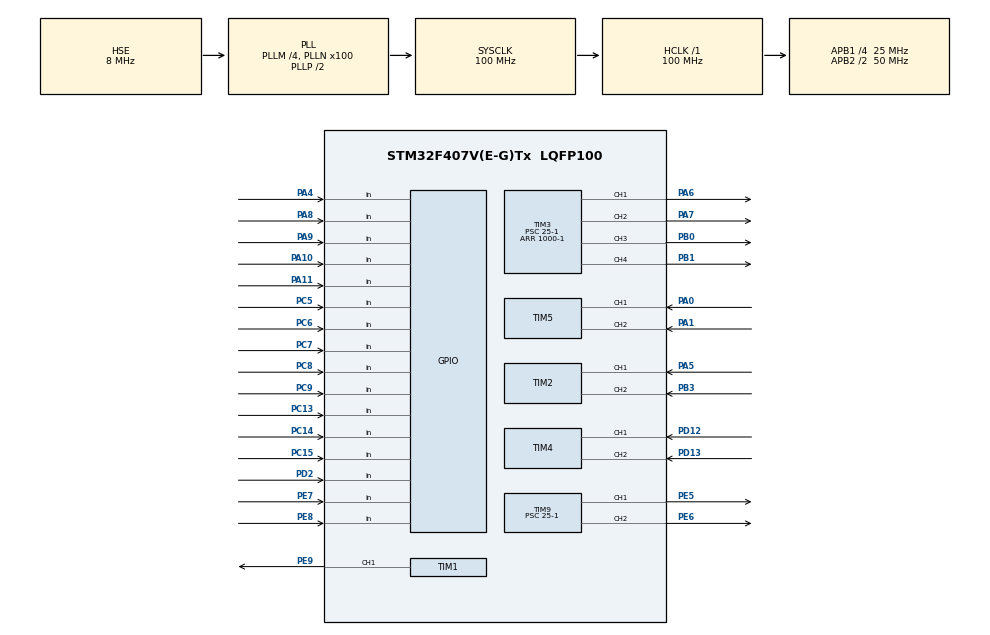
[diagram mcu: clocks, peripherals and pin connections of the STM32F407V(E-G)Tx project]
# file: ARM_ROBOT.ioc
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Mcu.Family=STM32F4
Mcu.Name=STM32F407V(E-G)Tx
Mcu.Package=LQFP100
NVIC.PriorityGroup=NVIC_PRIORITYGROUP_4
NVIC.TIM4_IRQn=true\:1\:0\:true\:false\:true\:true\:true
PA0-WKUP.GPIO_PuPd=GPIO_PULLUP
PA0-WKUP.Signal=S_TIM5_CH1
PA1.GPIO_PuPd=GPIO_PULLUP
PA1.Signal=S_TIM5_CH2
PA10.GPIO_PuPd=GPIO_PULLUP
PA10.Signal=GPIO_Input
PA11.GPIO_PuPd=GPIO_PULLUP
PA11.Signal=GPIO_Input
PA13.Mode=Serial_Wire
PA13.Signal=SYS_JTMS-SWDIO
PA14.Mode=Serial_Wire
PA14.Signal=SYS_JTCK-SWCLK
PA4.GPIO_PuPd=GPIO_PULLUP
PA4.Signal=GPIO_Input
PA5.GPIO_PuPd=GPIO_PULLUP
PA5.Signal=S_TIM2_CH1_ETR
PA6.Signal=S_TIM3_CH1
PA7.Signal=S_TIM3_CH2
PA8.GPIO_PuPd=GPIO_PULLUP
PA8.Signal=GPIO_Input
PA9.GPIO_PuPd=GPIO_PULLUP
PA9.Signal=GPIO_Input
PB0.Signal=S_TIM3_CH3
PB1.Signal=S_TIM3_CH4
PB3.GPIO_PuPd=GPIO_PULLUP
PB3.Signal=S_TIM2_CH2
PC13-ANTI_TAMP.GPIO_PuPd=GPIO_PULLUP
PC13-ANTI_TAMP.Signal=GPIO_Input
PC14-OSC32_IN.GPIO_PuPd=GPIO_PULLUP
PC14-OSC32_IN.Signal=GPIO_Input
PC15-OSC32_OUT.GPIO_PuPd=GPIO_PULLUP
PC15-OSC32_OUT.Signal=GPIO_Input
PC5.GPIO_PuPd=GPIO_PULLUP
PC5.Signal=GPIO_Input
PC6.GPIO_PuPd=GPIO_PULLUP
PC6.Signal=GPIO_Input
PC7.GPIO_PuPd=GPIO_PULLUP
PC7.Signal=GPIO_Input
PC8.GPIO_PuPd=GPIO_PULLUP
PC8.Signal=GPIO_Input
PC9.GPIO_PuPd=GPIO_PULLUP
PC9.Signal=GPIO_Input
PD12.GPIO_PuPd=GPIO_PULLUP
PD12.Signal=S_TIM4_CH1
PD13.GPIO_PuPd=GPIO_PULLUP
PD13.Signal=S_TIM4_CH2
PD2.GPIO_PuPd=GPIO_PULLUP
PD2.Signal=GPIO_Input
PE5.GPIO_PuPd=GPIO_PULLUP
PE5.Signal=S_TIM9_CH1
PE6.GPIO_PuPd=GPIO_PULLUP
PE6.Signal=S_TIM9_CH2
PE7.GPIO_PuPd=GPIO_PULLUP
PE7.Signal=GPIO_Input
PE8.GPIO_PuPd=GPIO_PULLUP
PE8.Signal=GPIO_Input
PE9.Signal=S_TIM1_CH1
PH0-OSC_IN.Mode=HSE-External-Oscillator
PH0-OSC_IN.Signal=RCC_OSC_IN
PH1-OSC_OUT.Mode=HSE-External-Oscillator
PH1-OSC_OUT.Signal=RCC_OSC_OUT
ProjectManager.HeapSize=0x200
ProjectManager.StackSize=0x400
ProjectManager.TargetToolchain=MDK-ARM V5.27
RCC.48MHZClocksFreq_Value=50000000
RCC.AHBFreq_Value=100000000
RCC.APB1CLKDivider=RCC_HCLK_DIV4
RCC.APB1Freq_Value=25000000
RCC.APB1TimFreq_Value=50000000
RCC.APB2CLKDivider=RCC_HCLK_DIV2
RCC.APB2Freq_Value=50000000
RCC.APB2TimFreq_Value=100000000
RCC.CortexFreq_Value=100000000
RCC.HCLKFreq_Value=100000000
RCC.HSE_VALUE=8000000
RCC.HSI_VALUE=16000000
RCC.LSE_VALUE=32768
RCC.PLLM=4
RCC.PLLN=100
RCC.PLLSourceVirtual=RCC_PLLSOURCE_HSE
RCC.SYSCLKFreq_VALUE=100000000
RCC.SYSCLKSource=RCC_SYSCLKSOURCE_PLLCLK
RCC.VCOOutputFreq_Value=200000000
SH.S_TIM1_CH1.0=TIM1_CH1,PWM Generation1 CH1
SH.S_TIM2_CH1_ETR.0=TIM2_CH1,Encoder_Interface
SH.S_TIM2_CH2.0=TIM2_CH2,Encoder_Interface
SH.S_TIM3_CH1.0=TIM3_CH1,PWM Generation1 CH1
SH.S_TIM3_CH2.0=TIM3_CH2,PWM Generation2 CH2
SH.S_TIM3_CH3.0=TIM3_CH3,PWM Generation3 CH3
SH.S_TIM3_CH4.0=TIM3_CH4,PWM Generation4 CH4
SH.S_TIM4_CH1.0=TIM4_CH1,Encoder_Interface
SH.S_TIM4_CH2.0=TIM4_CH2,Encoder_Interface
SH.S_TIM5_CH1.0=TIM5_CH1,Encoder_Interface
SH.S_TIM5_CH2.0=TIM5_CH2,Encoder_Interface
SH.S_TIM9_CH1.0=TIM9_CH1,PWM Generation1 CH1
SH.S_TIM9_CH2.0=TIM9_CH2,PWM Generation2 CH2
TIM1.Channel-PWM\ Generation1\ CH1=TIM_CHANNEL_1
TIM1.Period=1000-1
TIM1.Prescaler=2000-1
TIM2.EncoderMode=TIM_ENCODERMODE_TI12
TIM3.Channel-PWM\ Generation1\ CH1=TIM_CHANNEL_1
TIM3.Channel-PWM\ Generation2\ CH2=TIM_CHANNEL_2
TIM3.Channel-PWM\ Generation3\ CH3=TIM_CHANNEL_3
TIM3.Channel-PWM\ Generation4\ CH4=TIM_CHANNEL_4
TIM3.Period=1000-1
TIM3.Prescaler=25-1
TIM4.EncoderMode=TIM_ENCODERMODE_TI12
TIM5.EncoderMode=TIM_ENCODERMODE_TI12
TIM9.Channel-PWM\ Generation1\ CH1=TIM_CHANNEL_1
TIM9.Channel-PWM\ Generation2\ CH2=TIM_CHANNEL_2
TIM9.Period=1000-1
TIM9.Prescaler=25-1
VP_TIM1_VS_ClockSourceINT.Mode=Internal
VP_TIM3_VS_ClockSourceINT.Mode=Internal
VP_TIM9_VS_ClockSourceINT.Mode=Internal
board=custom

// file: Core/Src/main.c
/* USER CODE BEGIN Header */
/**
  ******************************************************************************
  * @file           : main.c
  * @brief          : Main program body
  ******************************************************************************
  * @attention
  *
  * <h2><center>&copy; Copyright (c) 2022 STMicroelectronics.
  * All rights reserved.</center></h2>
  *
  * This software component is licensed by ST under BSD 3-Clause license,
  * the "License"; You may not use this file except in compliance with the
  * License. You may obtain a copy of the License at:
  *                        opensource.org/licenses/BSD-3-Clause
  *
  ******************************************************************************
  */
/* USER CODE END Header */
#include "main.h"

/* USER CODE BEGIN Includes */
#include "math.h"
#include "PORT.h"
/* USER CODE END Includes */

TIM_HandleTypeDef htim1;
TIM_HandleTypeDef htim2;
TIM_HandleTypeDef htim3;
TIM_HandleTypeDef htim4;
TIM_HandleTypeDef htim5;
TIM_HandleTypeDef htim9;

/* USER CODE BEGIN PV */
//------doc_encoder-------------
volatile uint32_t encoder_cnt1 = 0;
volatile uint32_t encoder_cnt2 = 0;
volatile uint32_t encoder_cnt3 = 0;

uint32_t read_encoder_1() //QUAY
	{
		encoder_cnt1 = __HAL_TIM_GET_COUNTER(&htim2); //A-B3, B-A5
		return encoder_cnt1;
	}
uint32_t read_encoder_2() //TINH TIEN
	{
		encoder_cnt2 = __HAL_TIM_GET_COUNTER(&htim5); // A-A0, B-A1
		return encoder_cnt2;
	}
uint32_t read_encoder_3() //CUOI
	{
		encoder_cnt3 = __HAL_TIM_GET_COUNTER(&htim4); //D13D12
		return encoder_cnt3;
	}
//*******************************************

typedef enum {OFF,DC1_OFF, DC1_LEFT,DC1_RIGHT, DC2_UP, DC2_DOWN, DC2_OFF, DC3_LEFT, DC3_RIGHT,DC3_OFF} System_TYPE;
static System_TYPE current_TYPE = OFF;
void DC(System_TYPE current_TYPE)
	{
   	switch (current_TYPE)
		{ case OFF:
						{
							//DC1
							  __HAL_TIM_SET_COMPARE(&htim9, TIM_CHANNEL_1, 0);
                __HAL_TIM_SET_COMPARE(&htim9, TIM_CHANNEL_2, 0);
							//DC2
             		__HAL_TIM_SET_COMPARE(&htim3, TIM_CHANNEL_1, 0);
                __HAL_TIM_SET_COMPARE(&htim3, TIM_CHANNEL_2, 0);
							//DC3
							  __HAL_TIM_SET_COMPARE(&htim3, TIM_CHANNEL_3, 0);
                __HAL_TIM_SET_COMPARE(&htim3, TIM_CHANNEL_4, 0);
			break;
						}
      case DC1_LEFT:
						{
							  __HAL_TIM_SET_COMPARE(&htim9, TIM_CHANNEL_1, 500);
                __HAL_TIM_SET_COMPARE(&htim9, TIM_CHANNEL_2, 0);
			break;
						}
      case DC1_RIGHT:
						{
							 __HAL_TIM_SET_COMPARE(&htim9, TIM_CHANNEL_1, 0);
               __HAL_TIM_SET_COMPARE(&htim9, TIM_CHANNEL_2, 500);
			break;
						}
			case DC1_OFF:
						{
							__HAL_TIM_SET_COMPARE(&htim9, TIM_CHANNEL_1, 0);
              __HAL_TIM_SET_COMPARE(&htim9, TIM_CHANNEL_2, 0);
			break;
						}
			case DC2_UP:
						{
							  __HAL_TIM_SET_COMPARE(&htim3, TIM_CHANNEL_1, 1000);
                __HAL_TIM_SET_COMPARE(&htim3, TIM_CHANNEL_2, 0);
			break;
						}
      case DC2_DOWN:
						{
							 __HAL_TIM_SET_COMPARE(&htim3, TIM_CHANNEL_1, 0);
               __HAL_TIM_SET_COMPARE(&htim3, TIM_CHANNEL_2, 1500);
			break;
						}
			case DC2_OFF:
						{
							__HAL_TIM_SET_COMPARE(&htim3, TIM_CHANNEL_1, 0);
              __HAL_TIM_SET_COMPARE(&htim3, TIM_CHANNEL_2, 0);
			break;
						}
			case DC3_LEFT:
						{
							  __HAL_TIM_SET_COMPARE(&htim3, TIM_CHANNEL_3, 900);
                __HAL_TIM_SET_COMPARE(&htim3, TIM_CHANNEL_4, 0);
			break;
						}
      case DC3_RIGHT:
						{
							 __HAL_TIM_SET_COMPARE(&htim3, TIM_CHANNEL_3, 0);
               __HAL_TIM_SET_COMPARE(&htim3, TIM_CHANNEL_4, 900);
			break;
						}
			case DC3_OFF:
						{
							__HAL_TIM_SET_COMPARE(&htim3, TIM_CHANNEL_3, 0);
              __HAL_TIM_SET_COMPARE(&htim3, TIM_CHANNEL_4, 0);
			break;
            }
		}
	}
//================================================================================
//-----CURRENT_STATE_ROBOT---------------
typedef enum {STATE1, STATE2, STATE3, STATE4} System_State;
static System_State current_state = STATE1; //AUTO HOME
void AUTO_HOME()
{
	switch (current_state)
		{ case STATE1:
						{
              DC(DC1_RIGHT);
							DC(DC2_OFF);
							DC(DC3_OFF);
					if((GPIOA->IDR & CAMBIEN_1)==0)
							{
                   __HAL_TIM_SET_COUNTER(&htim2, 0);
			             current_state = STATE2;
							}
			break;
						}
      case STATE2:
						{
							DC(DC1_OFF);
						  DC(DC2_DOWN);
              DC(DC3_OFF);
		          if((GPIOA->IDR & CAMBIEN_3)==0)
								{
										 __HAL_TIM_SET_COUNTER(&htim5, 0);
										 current_state = STATE3;
								}
			break;
						}
      case STATE3:
						{
							DC(DC1_OFF);
							DC(DC2_OFF);
						  DC(DC3_LEFT);
		          if(encoder_cnt3 == 10000)
								{
										//__HAL_TIM_SET_COUNTER(&htim4, 0);
										 current_state = STATE4;
								}
			break;
						}
			case STATE4:
				{
					DC(DC1_OFF);
					DC(DC2_OFF);
					DC(DC3_OFF);
					      if((GPIOC->IDR & NUTNHAN_3)==0)
								{
						       current_state = STATE1;		;
								}
      break;
				}
		}
}
//============================================================================
typedef enum {STATE1_1, STATE1_2, STATE1_3, STATE1_4,STATE1_5, STATE1_6, STATE1_7} System_TRANGTHAI_1;
static System_TRANGTHAI_1 TRANGTHAI_1 = STATE1_1; //AUTO HOME
void TRANG_THAI_1()
{
	switch (TRANGTHAI_1)
		{ case STATE1_1:
						{
              DC(DC1_RIGHT);
							DC(DC2_OFF);
							DC(DC3_OFF);
					if((GPIOA->IDR & CAMBIEN_2)==0)
							{
			             TRANGTHAI_1 = STATE1_2;
							}
			break;
						}
      case STATE1_2:
						{
							DC(DC1_OFF);
						  DC(DC2_UP);
							DC(DC3_OFF);
		          if((GPIOE->IDR & CAMBIEN_4)==0)
								{
										 TRANGTHAI_1 = STATE1_3;
								}
			break;
						}
      case STATE1_3:
						{
							DC(DC1_OFF);
							DC(DC2_OFF);
						  DC(DC3_RIGHT);
              if(encoder_cnt3 == 5000)
								{
										TRANGTHAI_1 = STATE1_4;
								}
			break;
						}
			case STATE1_4:
				{
					DC(DC1_OFF);
					DC(DC2_OFF);
					DC(DC3_OFF);
				  TRANGTHAI_1 = STATE1_5;

      break;
				}
			case STATE1_5:
				{
					DC(DC1_OFF);
					DC(DC2_OFF);
					DC(DC3_LEFT);
					 if(encoder_cnt3 == 60000)//doc lan 1 CAM BIEN 5
							{

									 TRANGTHAI_1 = STATE1_6;
							}

      break;
				}
			case STATE1_6:
				{
					DC(DC1_OFF);
					DC(DC2_DOWN);
					DC(DC3_OFF);
					if((GPIOA->IDR & CAMBIEN_3)==0)//doc lan 1 CAM BIEN 3
						{
								 TRANGTHAI_1 = STATE1_7;
						}
			break;
				}
		 case STATE1_7:
						{
              DC(DC1_LEFT);
							DC(DC2_OFF);
							DC(DC3_OFF);
					if((GPIOE->IDR & CAMBIEN_1)==0)//doc lan 1 CAM BIEN 1
							{
			             TRANGTHAI_1 = STATE1_1;
							}

			break;
						}
		}
}
//===========================================================================================

//===============================================================================
typedef enum {STATE2_1, STATE2_2, STATE2_3, STATE2_4, STATE2_5, STATE2_6, STATE2_7, STATE2_8} System_TRANGTHAI_2;
static System_TRANGTHAI_2 TRANGTHAI_2 = STATE2_1; //AUTO HOME
void TRANG_THAI_2() // CHUA CAI DAT TOC DO CHO DC
{
	switch (TRANGTHAI_2)
		{ case STATE2_1:
						{
              DC(DC1_LEFT);
							DC(DC2_OFF);
						  DC(DC3_OFF);
							if( encoder_cnt1 == 100000)
								{
									TRANGTHAI_2 = STATE2_2;
								}
			break;
						}
      case STATE2_2:
						{
							DC(DC1_OFF);
							DC(DC2_UP);
							DC(DC3_OFF);
							        if((GPIOE->IDR & CAMBIEN_4)==0)//doc lan 1 CAM BIEN 4
								{
												TRANGTHAI_2 = STATE2_3;
								}
			break;
						}
      case STATE2_3:
						{
							DC(DC1_OFF);
							DC(DC2_OFF);
						  DC(DC3_LEFT);
							if( encoder_cnt3 == 60000)
								{
									TRANGTHAI_2 = STATE2_4;
								}
// vi tri A
			break;
						}
			case STATE2_4:
				{
							DC(DC1_LEFT);
							DC(DC2_OFF);
						  DC(DC3_OFF);
							if( encoder_cnt1 == 150000)
								{
									TRANGTHAI_2 = STATE2_5;
								}
      break;
				}
			case STATE2_5:
				{
							DC(DC1_OFF);
							DC(DC2_DOWN);
						  DC(DC3_OFF);
							if( encoder_cnt2 == 10000)
								{
									TRANGTHAI_2 = STATE2_6;
								}
      break;
				}
			case STATE2_6:
				{
							DC(DC1_OFF);
							DC(DC2_DOWN);
						  DC(DC3_OFF);
							if( encoder_cnt2 == 0)
								{
									TRANGTHAI_2 = STATE2_7;
								}
      break;
				}
			case STATE2_7:
				{
							DC(DC1_OFF);
							DC(DC2_OFF);
						  DC(DC3_RIGHT);
							if( encoder_cnt3 == 0)
								{
									TRANGTHAI_2 = STATE2_8;
								}
      break;
				}
			case STATE2_8:
						{
              DC(DC1_RIGHT);
							DC(DC2_OFF);
						  DC(DC3_OFF);
							if( encoder_cnt1 == 100000)
								{
									TRANGTHAI_2 = STATE2_1;
								}
			break;
						}

		}
}
//========================================================================================
typedef enum {TH1, TH2, TH3} System_TH;
static System_TH current_TH = TH1;
void TONG_HOP()
{
	switch (current_TH)
		{ case TH1:
						{
							AUTO_HOME();
						  if((GPIOC->IDR & NUTNHAN_1)==0)
								{
										 current_TH = TH2;

								}
							if((GPIOC->IDR & NUTNHAN_2)==0)
								{
										 current_TH = TH3;
								}
			break;
						}
      case TH2:
						{
              TRANG_THAI_1();
							if((GPIOC->IDR & NUTNHAN_3)==0)
							  {
										 current_TH = TH1;
								}
			break;
						}
      case TH3:
						{
             TRANG_THAI_2();
						 	if((GPIOC->IDR & NUTNHAN_3)==0)
							  {
										 current_TH = TH1;
								}
			break;
					 }
		}
}

/* USER CODE END PV */

void SystemClock_Config(void);
static void MX_GPIO_Init(void);
static void MX_TIM1_Init(void);
static void MX_TIM2_Init(void);
static void MX_TIM3_Init(void);
static void MX_TIM4_Init(void);
static void MX_TIM5_Init(void);
static void MX_TIM9_Init(void);

/* USER CODE BEGIN 0 */
  // HAL_TIM_Base_Start_IT(&htim2); // hаm cho phep bat dau ngat
	// HAL_TIM_Base_Start_IT(&htim3);

/* USER CODE END 0 */

int main(void)
{

  /* MCU Configuration--------------------------------------------------------*/

  /* Reset of all peripherals, Initializes the Flash interface and the Systick. */
  HAL_Init();

  /* Configure the system clock */
  SystemClock_Config();

  /* Initialize all configured peripherals */
  MX_GPIO_Init();
  MX_TIM1_Init();
  MX_TIM2_Init();
  MX_TIM3_Init();
  MX_TIM4_Init();
  MX_TIM5_Init();
  MX_TIM9_Init();
  /* USER CODE BEGIN 2 */
		HAL_TIM_PWM_Start(&htim1,TIM_CHANNEL_1);
		HAL_TIM_PWM_Start(&htim9,TIM_CHANNEL_1);
		HAL_TIM_PWM_Start(&htim9,TIM_CHANNEL_2);
		HAL_TIM_PWM_Start(&htim3,TIM_CHANNEL_1);
		HAL_TIM_PWM_Start(&htim3,TIM_CHANNEL_2);
		HAL_TIM_PWM_Start(&htim3,TIM_CHANNEL_3);
		HAL_TIM_PWM_Start(&htim3,TIM_CHANNEL_4);
		HAL_TIM_Encoder_Start_IT(&htim2, TIM_CHANNEL_1 | TIM_CHANNEL_2);
		HAL_TIM_Encoder_Start_IT(&htim5, TIM_CHANNEL_1 | TIM_CHANNEL_2);
		HAL_TIM_Encoder_Start_IT(&htim4, TIM_CHANNEL_1 | TIM_CHANNEL_2);
  /* USER CODE END 2 */

  /* Infinite loop */
  while (1)
  {

    /* USER CODE BEGIN 3 */
		read_encoder_1();
		read_encoder_2();
		read_encoder_3();
	  TONG_HOP();
  }
  /* USER CODE END 3 */
}

void SystemClock_Config(void)
{
  RCC_OscInitTypeDef RCC_OscInitStruct = {0};
  RCC_ClkInitTypeDef RCC_ClkInitStruct = {0};

  /** Configure the main internal regulator output voltage
  */
  __HAL_RCC_PWR_CLK_ENABLE();
  __HAL_PWR_VOLTAGESCALING_CONFIG(PWR_REGULATOR_VOLTAGE_SCALE1);
  /** Initializes the RCC Oscillators according to the specified parameters
  * in the RCC_OscInitTypeDef structure.
  */
  RCC_OscInitStruct.OscillatorType = RCC_OSCILLATORTYPE_HSE;
  RCC_OscInitStruct.HSEState = RCC_HSE_ON;
  RCC_OscInitStruct.PLL.PLLState = RCC_PLL_ON;
  RCC_OscInitStruct.PLL.PLLSource = RCC_PLLSOURCE_HSE;
  RCC_OscInitStruct.PLL.PLLM = 4;
  RCC_OscInitStruct.PLL.PLLN = 100;
  RCC_OscInitStruct.PLL.PLLP = RCC_PLLP_DIV2;
  RCC_OscInitStruct.PLL.PLLQ = 4;
  if (HAL_RCC_OscConfig(&RCC_OscInitStruct) != HAL_OK)
  {
    Error_Handler();
  }
  /** Initializes the CPU, AHB and APB buses clocks
  */
  RCC_ClkInitStruct.ClockType = RCC_CLOCKTYPE_HCLK|RCC_CLOCKTYPE_SYSCLK
                              |RCC_CLOCKTYPE_PCLK1|RCC_CLOCKTYPE_PCLK2;
  RCC_ClkInitStruct.SYSCLKSource = RCC_SYSCLKSOURCE_PLLCLK;
  RCC_ClkInitStruct.AHBCLKDivider = RCC_SYSCLK_DIV1;
  RCC_ClkInitStruct.APB1CLKDivider = RCC_HCLK_DIV4;
  RCC_ClkInitStruct.APB2CLKDivider = RCC_HCLK_DIV2;

  if (HAL_RCC_ClockConfig(&RCC_ClkInitStruct, FLASH_LATENCY_3) != HAL_OK)
  {
    Error_Handler();
  }
}

static void MX_TIM1_Init(void)
{

  TIM_ClockConfigTypeDef sClockSourceConfig = {0};
  TIM_MasterConfigTypeDef sMasterConfig = {0};
  TIM_OC_InitTypeDef sConfigOC = {0};
  TIM_BreakDeadTimeConfigTypeDef sBreakDeadTimeConfig = {0};

  htim1.Instance = TIM1;
  htim1.Init.Prescaler = 2000-1;
  htim1.Init.CounterMode = TIM_COUNTERMODE_UP;
  htim1.Init.Period = 1000-1;
  htim1.Init.ClockDivision = TIM_CLOCKDIVISION_DIV1;
  htim1.Init.RepetitionCounter = 0;
  htim1.Init.AutoReloadPreload = TIM_AUTORELOAD_PRELOAD_DISABLE;
  if (HAL_TIM_Base_Init(&htim1) != HAL_OK)
  {
    Error_Handler();
  }
  sClockSourceConfig.ClockSource = TIM_CLOCKSOURCE_INTERNAL;
  if (HAL_TIM_ConfigClockSource(&htim1, &sClockSourceConfig) != HAL_OK)
  {
    Error_Handler();
  }
  if (HAL_TIM_PWM_Init(&htim1) != HAL_OK)
  {
    Error_Handler();
  }
  sMasterConfig.MasterOutputTrigger = TIM_TRGO_RESET;
  sMasterConfig.MasterSlaveMode = TIM_MASTERSLAVEMODE_DISABLE;
  if (HAL_TIMEx_MasterConfigSynchronization(&htim1, &sMasterConfig) != HAL_OK)
  {
    Error_Handler();
  }
  sConfigOC.OCMode = TIM_OCMODE_PWM1;
  sConfigOC.Pulse = 0;
  sConfigOC.OCPolarity = TIM_OCPOLARITY_HIGH;
  sConfigOC.OCNPolarity = TIM_OCNPOLARITY_HIGH;
  sConfigOC.OCFastMode = TIM_OCFAST_DISABLE;
  sConfigOC.OCIdleState = TIM_OCIDLESTATE_RESET;
  sConfigOC.OCNIdleState = TIM_OCNIDLESTATE_RESET;
  if (HAL_TIM_PWM_ConfigChannel(&htim1, &sConfigOC, TIM_CHANNEL_1) != HAL_OK)
  {
    Error_Handler();
  }
  sBreakDeadTimeConfig.OffStateRunMode = TIM_OSSR_DISABLE;
  sBreakDeadTimeConfig.OffStateIDLEMode = TIM_OSSI_DISABLE;
  sBreakDeadTimeConfig.LockLevel = TIM_LOCKLEVEL_OFF;
  sBreakDeadTimeConfig.DeadTime = 0;
  sBreakDeadTimeConfig.BreakState = TIM_BREAK_DISABLE;
  sBreakDeadTimeConfig.BreakPolarity = TIM_BREAKPOLARITY_HIGH;
  sBreakDeadTimeConfig.AutomaticOutput = TIM_AUTOMATICOUTPUT_DISABLE;
  if (HAL_TIMEx_ConfigBreakDeadTime(&htim1, &sBreakDeadTimeConfig) != HAL_OK)
  {
    Error_Handler();
  }
  HAL_TIM_MspPostInit(&htim1);

}

static void MX_TIM2_Init(void)
{

  TIM_Encoder_InitTypeDef sConfig = {0};
  TIM_MasterConfigTypeDef sMasterConfig = {0};

  htim2.Instance = TIM2;
  htim2.Init.Prescaler = 0;
  htim2.Init.CounterMode = TIM_COUNTERMODE_UP;
  htim2.Init.Period = 4294967295;
  htim2.Init.ClockDivision = TIM_CLOCKDIVISION_DIV1;
  htim2.Init.AutoReloadPreload = TIM_AUTORELOAD_PRELOAD_DISABLE;
  sConfig.EncoderMode = TIM_ENCODERMODE_TI12;
  sConfig.IC1Polarity = TIM_ICPOLARITY_RISING;
  sConfig.IC1Selection = TIM_ICSELECTION_DIRECTTI;
  sConfig.IC1Prescaler = TIM_ICPSC_DIV1;
  sConfig.IC1Filter = 0;
  sConfig.IC2Polarity = TIM_ICPOLARITY_RISING;
  sConfig.IC2Selection = TIM_ICSELECTION_DIRECTTI;
  sConfig.IC2Prescaler = TIM_ICPSC_DIV1;
  sConfig.IC2Filter = 0;
  if (HAL_TIM_Encoder_Init(&htim2, &sConfig) != HAL_OK)
  {
    Error_Handler();
  }
  sMasterConfig.MasterOutputTrigger = TIM_TRGO_RESET;
  sMasterConfig.MasterSlaveMode = TIM_MASTERSLAVEMODE_DISABLE;
  if (HAL_TIMEx_MasterConfigSynchronization(&htim2, &sMasterConfig) != HAL_OK)
  {
    Error_Handler();
  }

}

static void MX_TIM3_Init(void)
{

  TIM_ClockConfigTypeDef sClockSourceConfig = {0};
  TIM_MasterConfigTypeDef sMasterConfig = {0};
  TIM_OC_InitTypeDef sConfigOC = {0};

  htim3.Instance = TIM3;
  htim3.Init.Prescaler = 25-1;
  htim3.Init.CounterMode = TIM_COUNTERMODE_UP;
  htim3.Init.Period = 1000-1;
  htim3.Init.ClockDivision = TIM_CLOCKDIVISION_DIV1;
  htim3.Init.AutoReloadPreload = TIM_AUTORELOAD_PRELOAD_DISABLE;
  if (HAL_TIM_Base_Init(&htim3) != HAL_OK)
  {
    Error_Handler();
  }
  sClockSourceConfig.ClockSource = TIM_CLOCKSOURCE_INTERNAL;
  if (HAL_TIM_ConfigClockSource(&htim3, &sClockSourceConfig) != HAL_OK)
  {
    Error_Handler();
  }
  if (HAL_TIM_PWM_Init(&htim3) != HAL_OK)
  {
    Error_Handler();
  }
  sMasterConfig.MasterOutputTrigger = TIM_TRGO_RESET;
  sMasterConfig.MasterSlaveMode = TIM_MASTERSLAVEMODE_DISABLE;
  if (HAL_TIMEx_MasterConfigSynchronization(&htim3, &sMasterConfig) != HAL_OK)
  {
    Error_Handler();
  }
  sConfigOC.OCMode = TIM_OCMODE_PWM1;
  sConfigOC.Pulse = 0;
  sConfigOC.OCPolarity = TIM_OCPOLARITY_HIGH;
  sConfigOC.OCFastMode = TIM_OCFAST_DISABLE;
  if (HAL_TIM_PWM_ConfigChannel(&htim3, &sConfigOC, TIM_CHANNEL_1) != HAL_OK)
  {
    Error_Handler();
  }
  if (HAL_TIM_PWM_ConfigChannel(&htim3, &sConfigOC, TIM_CHANNEL_2) != HAL_OK)
  {
    Error_Handler();
  }
  if (HAL_TIM_PWM_ConfigChannel(&htim3, &sConfigOC, TIM_CHANNEL_3) != HAL_OK)
  {
    Error_Handler();
  }
  if (HAL_TIM_PWM_ConfigChannel(&htim3, &sConfigOC, TIM_CHANNEL_4) != HAL_OK)
  {
    Error_Handler();
  }
  HAL_TIM_MspPostInit(&htim3);

}

static void MX_TIM4_Init(void)
{

  TIM_Encoder_InitTypeDef sConfig = {0};
  TIM_MasterConfigTypeDef sMasterConfig = {0};

  htim4.Instance = TIM4;
  htim4.Init.Prescaler = 0;
  htim4.Init.CounterMode = TIM_COUNTERMODE_UP;
  htim4.Init.Period = 65535;
  htim4.Init.ClockDivision = TIM_CLOCKDIVISION_DIV1;
  htim4.Init.AutoReloadPreload = TIM_AUTORELOAD_PRELOAD_DISABLE;
  sConfig.EncoderMode = TIM_ENCODERMODE_TI12;
  sConfig.IC1Polarity = TIM_ICPOLARITY_RISING;
  sConfig.IC1Selection = TIM_ICSELECTION_DIRECTTI;
  sConfig.IC1Prescaler = TIM_ICPSC_DIV1;
  sConfig.IC1Filter = 0;
  sConfig.IC2Polarity = TIM_ICPOLARITY_RISING;
  sConfig.IC2Selection = TIM_ICSELECTION_DIRECTTI;
  sConfig.IC2Prescaler = TIM_ICPSC_DIV1;
  sConfig.IC2Filter = 0;
  if (HAL_TIM_Encoder_Init(&htim4, &sConfig) != HAL_OK)
  {
    Error_Handler();
  }
  sMasterConfig.MasterOutputTrigger = TIM_TRGO_RESET;
  sMasterConfig.MasterSlaveMode = TIM_MASTERSLAVEMODE_DISABLE;
  if (HAL_TIMEx_MasterConfigSynchronization(&htim4, &sMasterConfig) != HAL_OK)
  {
    Error_Handler();
  }

}

static void MX_TIM5_Init(void)
{

  TIM_Encoder_InitTypeDef sConfig = {0};
  TIM_MasterConfigTypeDef sMasterConfig = {0};

  htim5.Instance = TIM5;
  htim5.Init.Prescaler = 0;
  htim5.Init.CounterMode = TIM_COUNTERMODE_UP;
  htim5.Init.Period = 4294967295;
  htim5.Init.ClockDivision = TIM_CLOCKDIVISION_DIV1;
  htim5.Init.AutoReloadPreload = TIM_AUTORELOAD_PRELOAD_DISABLE;
  sConfig.EncoderMode = TIM_ENCODERMODE_TI12;
  sConfig.IC1Polarity = TIM_ICPOLARITY_RISING;
  sConfig.IC1Selection = TIM_ICSELECTION_DIRECTTI;
  sConfig.IC1Prescaler = TIM_ICPSC_DIV1;
  sConfig.IC1Filter = 0;
  sConfig.IC2Polarity = TIM_ICPOLARITY_RISING;
  sConfig.IC2Selection = TIM_ICSELECTION_DIRECTTI;
  sConfig.IC2Prescaler = TIM_ICPSC_DIV1;
  sConfig.IC2Filter = 0;
  if (HAL_TIM_Encoder_Init(&htim5, &sConfig) != HAL_OK)
  {
    Error_Handler();
  }
  sMasterConfig.MasterOutputTrigger = TIM_TRGO_RESET;
  sMasterConfig.MasterSlaveMode = TIM_MASTERSLAVEMODE_DISABLE;
  if (HAL_TIMEx_MasterConfigSynchronization(&htim5, &sMasterConfig) != HAL_OK)
  {
    Error_Handler();
  }

}

static void MX_TIM9_Init(void)
{

  TIM_ClockConfigTypeDef sClockSourceConfig = {0};
  TIM_OC_InitTypeDef sConfigOC = {0};

  htim9.Instance = TIM9;
  htim9.Init.Prescaler = 25-1;
  htim9.Init.CounterMode = TIM_COUNTERMODE_UP;
  htim9.Init.Period = 1000-1;
  htim9.Init.ClockDivision = TIM_CLOCKDIVISION_DIV1;
  htim9.Init.AutoReloadPreload = TIM_AUTORELOAD_PRELOAD_DISABLE;
  if (HAL_TIM_Base_Init(&htim9) != HAL_OK)
  {
    Error_Handler();
  }
  sClockSourceConfig.ClockSource = TIM_CLOCKSOURCE_INTERNAL;
  if (HAL_TIM_ConfigClockSource(&htim9, &sClockSourceConfig) != HAL_OK)
  {
    Error_Handler();
  }
  if (HAL_TIM_PWM_Init(&htim9) != HAL_OK)
  {
    Error_Handler();
  }
  sConfigOC.OCMode = TIM_OCMODE_PWM1;
  sConfigOC.Pulse = 0;
  sConfigOC.OCPolarity = TIM_OCPOLARITY_HIGH;
  sConfigOC.OCFastMode = TIM_OCFAST_DISABLE;
  if (HAL_TIM_PWM_ConfigChannel(&htim9, &sConfigOC, TIM_CHANNEL_1) != HAL_OK)
  {
    Error_Handler();
  }
  if (HAL_TIM_PWM_ConfigChannel(&htim9, &sConfigOC, TIM_CHANNEL_2) != HAL_OK)
  {
    Error_Handler();
  }
  HAL_TIM_MspPostInit(&htim9);

}

static void MX_GPIO_Init(void)
{
  GPIO_InitTypeDef GPIO_InitStruct = {0};

  /* GPIO Ports Clock Enable */
  __HAL_RCC_GPIOE_CLK_ENABLE();
  __HAL_RCC_GPIOC_CLK_ENABLE();
  __HAL_RCC_GPIOH_CLK_ENABLE();
  __HAL_RCC_GPIOA_CLK_ENABLE();
  __HAL_RCC_GPIOB_CLK_ENABLE();
  __HAL_RCC_GPIOD_CLK_ENABLE();

  /*Configure GPIO pins : PC13 PC14 PC15 PC5
                           PC6 PC7 PC8 PC9 */
  GPIO_InitStruct.Pin = GPIO_PIN_13|GPIO_PIN_14|GPIO_PIN_15|GPIO_PIN_5
                          |GPIO_PIN_6|GPIO_PIN_7|GPIO_PIN_8|GPIO_PIN_9;
  GPIO_InitStruct.Mode = GPIO_MODE_INPUT;
  GPIO_InitStruct.Pull = GPIO_PULLUP;
  HAL_GPIO_Init(GPIOC, &GPIO_InitStruct);

  /*Configure GPIO pins : PA4 PA8 PA9 PA10
                           PA11 */
  GPIO_InitStruct.Pin = GPIO_PIN_4|GPIO_PIN_8|GPIO_PIN_9|GPIO_PIN_10
                          |GPIO_PIN_11;
  GPIO_InitStruct.Mode = GPIO_MODE_INPUT;
  GPIO_InitStruct.Pull = GPIO_PULLUP;
  HAL_GPIO_Init(GPIOA, &GPIO_InitStruct);

  /*Configure GPIO pins : PE7 PE8 */
  GPIO_InitStruct.Pin = GPIO_PIN_7|GPIO_PIN_8;
  GPIO_InitStruct.Mode = GPIO_MODE_INPUT;
  GPIO_InitStruct.Pull = GPIO_PULLUP;
  HAL_GPIO_Init(GPIOE, &GPIO_InitStruct);

  /*Configure GPIO pin : PD2 */
  GPIO_InitStruct.Pin = GPIO_PIN_2;
  GPIO_InitStruct.Mode = GPIO_MODE_INPUT;
  GPIO_InitStruct.Pull = GPIO_PULLUP;
  HAL_GPIO_Init(GPIOD, &GPIO_InitStruct);

}

void Error_Handler(void)
{
}

/************************ (C) COPYRIGHT STMicroelectronics *****END OF FILE****/
